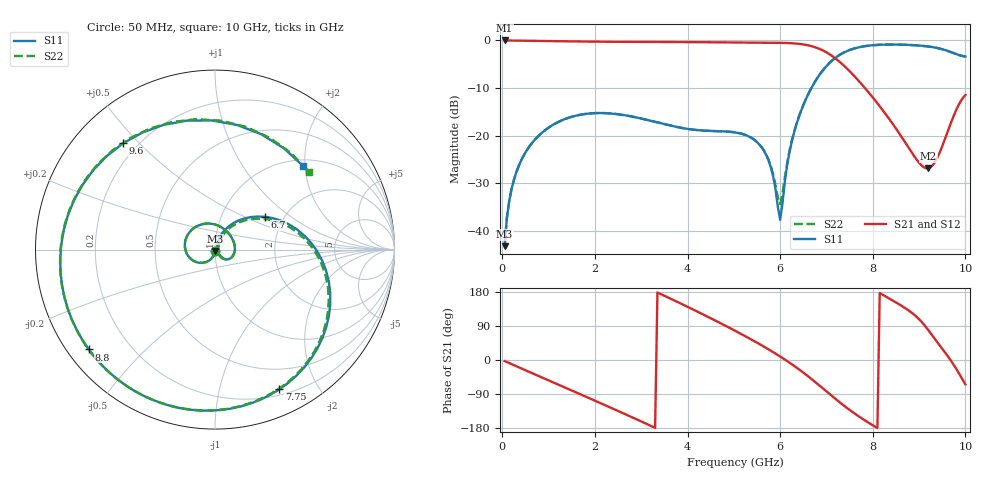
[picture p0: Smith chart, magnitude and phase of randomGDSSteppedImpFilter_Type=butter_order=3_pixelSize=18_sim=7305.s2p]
! freq	dB(S11)	phase(S11)	dB(S12)	phase(S12)
!  dB(S21)	phase(S21)	dB(S22)	phase(S22)
!S-par simulation data
#  GHz  S  DB  R 50
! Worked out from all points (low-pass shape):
!   200 points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, 50 MHz to 10 GHz, reference 50 ohm
!   highest |S21| = -0.01 dB at 50 MHz (marker M1); lowest = -26.8 dB at 9.2 GHz (marker M2)
!   |S21| within 3 dB of the highest: start of sweep to 7.083 GHz
!   lowest |S11| = -43.2 dB at 50 MHz (marker M3), VSWR 1.01, Z = 50 - j0.695 ohm
!   |S11| at or under -10 dB: start of sweep to 6.674 GHz
!   |S22| runs from -43.2 to -0.9 dB; largest |S21 - S12| = 0
!   S11 on the Smith chart (normalised r, x): 50 MHz: 1.00, -0.01; 6.7 GHz: 1.61, +0.66; 7.75 GHz: 0.26, -1.53; 8.8 GHz: 0.06, -0.35; 9.6 GHz: 0.15, +0.45; 10 GHz: 1.13, +1.95
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0.05  -43.16 -89.8  -0.01 -2.7  -0.01 -2.7  -43.16 -89.8
0.2  -31.18 -100.5  -0.02 -10.9  -0.02 -10.9  -31.18 -100.5
0.5  -23.50 -117.4  -0.06 -27.0  -0.06 -27.0  -23.50 -117.5
1.15  -17.40 -152.3  -0.15 -61.9  -0.15 -61.9  -17.40 -152.6
1.75  -15.48 175.4  -0.24 -93.9  -0.24 -93.9  -15.48 174.8
2.7  -15.78 123.9  -0.30 -145.4  -0.30 -145.4  -15.78 122.9
3.4  -17.33 84.9  -0.32 175.3  -0.32 175.3  -17.33 83.5
4.35  -18.92 29.7  -0.38 119.4  -0.38 119.4  -18.91 28.3
5.05  -19.33 -12.6  -0.43 75.7  -0.43 75.7  -19.32 -13.0
5.7  -24.07 -50.5  -0.47 31.7  -0.47 31.7  -23.96 -47.5
6  -37.64 7.9  -0.50 9.3  -0.50 9.3  -34.30 7.2
6.25  -21.26 67.8  -0.59 -11.0  -0.59 -11.0  -21.08 61.8
6.7  -9.54 33.2  -1.26 -52.4  -1.26 -52.4  -9.52 30.4
6.95  -5.95 8.9  -2.24 -77.8  -2.24 -77.8  -5.93 6.6
7.25  -3.26 -20.9  -4.21 -108.2  -4.21 -108.2  -3.25 -22.8
7.75  -1.34 -65.2  -9.08 -153.0  -9.08 -153.0  -1.34 -66.9
8.35  -0.86 -109.4  -16.41 162.7  -16.41 162.7  -0.86 -111.0
8.8  -0.95 -141.7  -22.89 128.5  -22.89 128.5  -0.95 -143.6
9.2  -1.27 -176.4  -26.83 78.8  -26.83 78.8  -1.28 -178.8
9.6  -2.13 130.9  -19.59 13.4  -19.59 13.4  -2.15 127.4
9.8  -2.86 91.4  -14.63 -22.8  -14.63 -22.8  -2.86 87.3
10  -3.39 43.6  -11.44 -64.3  -11.44 -64.3  -3.35 39.6
